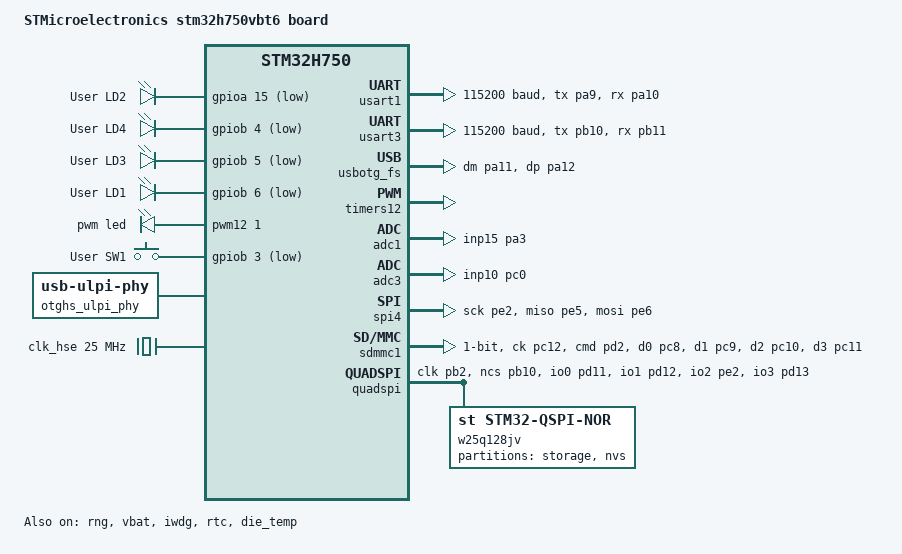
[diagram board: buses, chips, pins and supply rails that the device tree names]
/*
 * Copyright (c) 2020 WuhanStudio
 * 
 * SPDX-License-Identifier: Apache-2.0
 */

 /dts-v1/;

 /*
 #include <st/h7/stm32h750Xb.dtsi> 这里不用官方的配置，FLASH RAM大小不对，自己进行适配修改！
  */
#include <st/h7/stm32h750vb.dtsi>
#include <st/h7/stm32h750vbtx-pinctrl.dtsi>
#include <zephyr/dt-bindings/input/input-event-codes.h>
  
/ {
	model = "STMicroelectronics stm32h750vbt6 board";
	compatible = "st,stm32h750";

	/* HW resources are split between CM7 */
	chosen {
		zephyr,console = &usart1;
		zephyr,shell-uart = &usart1;
		zephyr,sram = &sram0;
		zephyr,flash = &flash0;
		zephyr,flash-controller = &w25q128jv;
	};

	leds {
		compatible = "gpio-leds";

		orange_led:led_1 {
			gpios = <&gpioa 15 GPIO_ACTIVE_LOW>;
			label = "User LD2";
			status = "okay";
		};
		
		blue_led:led_2 {
			gpios = <&gpiob 4 GPIO_ACTIVE_LOW>;
			label = "User LD4";
			status = "okay";
		};

		red_led:led_3 {
		gpios = <&gpiob 5 GPIO_ACTIVE_LOW>;
		label = "User LD3";
		status = "okay";
	};

	green_led:led_4 {
			gpios = <&gpiob 6 GPIO_ACTIVE_LOW>;
			label = "User LD1";
			status = "okay";
		};
	};

	pwmleds {
		compatible = "pwm-leds";
		pwm_led0: pwm_led_0 {
			pwms = <&pwm12 1 PWM_USEC(100) PWM_POLARITY_NORMAL>;
			label = "pwm led";
			status = "okay";
		};
	};

	keys {
		compatible = "gpio-keys";
		wake_up: button {
			label = "User SW1";
			gpios = <&gpiob 3 (GPIO_PULL_UP | GPIO_ACTIVE_LOW)>;
			zephyr,code = <INPUT_KEY_0>;
			status = "okay";
		};
	};

	otghs_ulpi_phy: otghs_ulpis_phy {
		compatible = "usb-ulpi-phy";
		#phy-cells = <0>;
	};

	aliases {
		led0 = &green_led;
		led1 = &orange_led;
		led2 = &red_led;
		led3 = &blue_led;
		sw0 = &wake_up;
		rtc = &rtc;
		pwm-led0 = &pwm_led0;
	};
};
 
&clk_lsi {
	status = "disabled";
};

&clk_lse {
	status = "okay";
};

&clk_hse {
	clock-frequency = <DT_FREQ_M(25)>;
	status = "okay";
};
 
&clk_hsi48 {
	status = "okay";
};

&pll2 {
	div-m = <5>;
	mul-n = <96>;
	div-p = <2>;
	div-q = <4>;
	div-r = <10>;
	clocks = <&clk_hse>;  /* Assuming 25MHz HSE */
	status = "okay";
};

&pll3 {
	div-m = <5>;
	mul-n = <96>;
	div-p = <2>;
	div-q = <4>;
	div-r = <10>;
	clocks = <&clk_hse>;  /* Assuming 25MHz HSE */
	status = "okay";
};

&pll {
	div-m = <5>;
	mul-n = <160>;
	div-p = <2>;
	div-q = <4>;
	div-r = <2>;
	clocks = <&clk_hse>;
	status = "okay";
};

&rcc {
	clocks = <&pll>;  /* Set pll as SYSCLK source */
	clock-frequency = <DT_FREQ_M(400)>; /* SYSCLK runs at 400MHz */
	d1cpre = <1>;
	hpre = <2>;
	d1ppre = <2>;
	d2ppre1 = <2>;
	d2ppre2 = <2>;
	d3ppre = <2>;
};


&usart1 {
	status = "okay";
	pinctrl-0 = <&usart1_tx_pa9 &usart1_rx_pa10>;
	pinctrl-names = "default";
	current-speed = <115200>;
};

&usart3 {
	pinctrl-0 = <&usart3_tx_pb10 &usart3_rx_pb11>;
	pinctrl-names = "default";
	current-speed = <115200>;
	status = "okay";
};
 
&rng {
	status = "okay";
};

&vbat {
	status = "okay";
};

&iwdg {
	status = "okay";
};

&mac {
	status = "disabled";
	pinctrl-0 = <&eth_mdc_pc1
		     &eth_rxd0_pc4
		     &eth_rxd1_pc5
		     &eth_ref_clk_pa1
		     &eth_mdio_pa2
		     &eth_crs_dv_pa7
		     &eth_tx_en_pb11
		     &eth_txd0_pb12
		     &eth_txd1_pb13>;
	pinctrl-names = "default";
};

zephyr_udc0: &usbotg_fs {
	pinctrl-0 = <&usb_otg_fs_dm_pa11 &usb_otg_fs_dp_pa12>;
	pinctrl-names = "default";
	status = "okay";
};

&rtc {
	clocks = <&rcc STM32_CLOCK_BUS_APB4 0x00010000>,
			<&rcc STM32_SRC_LSE RTC_SEL(1)>;
	status = "okay";
};

&i2c1 {
	pinctrl-0 = <&i2c1_scl_pb8 &i2c1_sda_pb9>;
	pinctrl-names = "default";
	clock-frequency = <I2C_BITRATE_FAST>;
	status = "disabled";
};

&i2c2 {
	pinctrl-0 = <&i2c2_scl_pb10 &i2c2_sda_pb11>;
	pinctrl-names = "default";
	status = "disabled";
	clock-frequency = <I2C_BITRATE_FAST>;
};

&timers12 {
	status = "okay";
	st,prescaler = <999>;
	pwm12: pwm {
		status = "okay";
		pinctrl-0 = <&tim12_ch1_pb14>;
		pinctrl-names = "default";
	};
};

&adc1 {
	pinctrl-0 = <&adc1_inp15_pa3>;
	pinctrl-names = "default";
	st,adc-clock-source = <SYNC>;
	st,adc-prescaler = <4>;
	status = "okay";
};

&adc3 {
	pinctrl-0 = <&adc3_inp10_pc0>;
	pinctrl-names = "default";
	st,adc-clock-source = <ASYNC>;
	st,adc-prescaler = <4>;
	status = "okay";
};

/* 注意：要使能 &adc3，因为：io-channels = <&adc3 18>;  */
&die_temp { 
	status = "okay";
};

&spi4 {
	status = "okay";
	pinctrl-0 = <&spi4_sck_pe2 &spi4_miso_pe5 &spi4_mosi_pe6>;	
	cs-gpios = <&gpioe 4 (GPIO_ACTIVE_LOW | GPIO_PULL_UP)>;
	pinctrl-names = "default";
};
 

&ext_memory {
	status = "disabled";
};

&dmamux1 {
	status = "okay";
};
 
&sdmmc1 {
	pinctrl-0 = <	&sdmmc1_ck_pc12 &sdmmc1_cmd_pd2
					&sdmmc1_d0_pc8  &sdmmc1_d1_pc9
					&sdmmc1_d2_pc10 &sdmmc1_d3_pc11>;
	// cd-gpios = <&gpioa 8 (GPIO_ACTIVE_LOW | GPIO_PULL_UP)>;
	pinctrl-names = "default";
	status = "okay";
	bus-width = <1>;
	clk-div = <1>;
	clocks = <&rcc STM32_CLOCK_BUS_AHB3 0x00010000>,
			 <&rcc STM32_SRC_PLL3_R SDMMC_SEL(0)>;   // 必须48MHz才行！
	// idma;
	// dmas = <&dma2 4 6 0x30000 0x00>, <&dma2 4 3 0x30000 0x00>;
	// dma-names = "tx", "rx";
};

&quadspi {
	pinctrl-0 = <	&quadspi_clk_pb2 &quadspi_bk1_ncs_pb10
					&quadspi_bk1_io0_pd11 &quadspi_bk1_io1_pd12
					&quadspi_bk1_io2_pe2 &quadspi_bk1_io3_pd13>;
	pinctrl-names = "default";
	status = "okay";

	w25q128jv: qspi-nor-flash@90000000 {
		compatible = "st,stm32-qspi-nor";
		reg = <0x90000000 DT_SIZE_M(16)>; /* 128 Mbits */
		qspi-max-frequency = <80000000>;
		spi-bus-width = <4>;
		writeoc="PP_1_1_4";
		status = "okay";
		partitions {
			compatible = "fixed-partitions";
			#address-cells = <1>;
			#size-cells = <1>;
			
			storage_partition: partition@0 {
				label = "storage";
				reg = <0x0 DT_SIZE_M(8)>;
			};

			nvs_partition: partition@800000 {
				label = "nvs";
				reg = <0x800000 DT_SIZE_M(8)>;
			};
		};
	};
};
